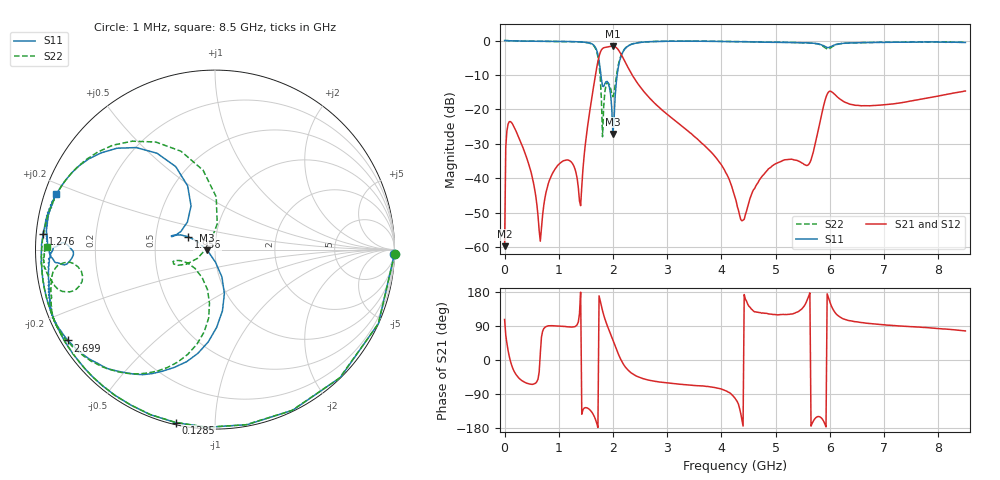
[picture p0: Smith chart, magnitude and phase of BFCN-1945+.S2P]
# Hz S dB R 50
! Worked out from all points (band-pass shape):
!   401 points, 1 MHz to 8.5 GHz, reference 50 ohm
!   highest |S21| = -1.64 dB at 1.998 GHz (marker M1); lowest = -59.7 dB at 1 MHz (marker M2)
!   |S21| within 3 dB of the highest: 1.743 GHz to 2.172 GHz (429.5 MHz wide, 21.9 % of centre)
!   lowest |S11| = -27.1 dB at 1.998 GHz (marker M3), VSWR 1.09, Z = 45.8 - j0.272 ohm
!   |S11| at or under -10 dB: 1.777 GHz to 2.078 GHz (300.2 MHz wide, 15.6 % of centre)
!   |S22| runs from -27.9 to 0.0 dB; largest |S21 - S12| = 0.0027
!   S11 on the Smith chart (normalised r, x): 1 MHz: -1, -88; 128.5 MHz: 0.01, -0.80; 1.276 GHz: 0.02, +0.04; 1.956 GHz: 0.73, +0.11; 2.699 GHz: 0.02, -0.28; 8.5 GHz: 0.03, +0.17
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1000000  0.00 -1.3  -59.70 106.9  -58.31 81.8  0.02 -1.3
6.47425e7  -0.05 -64.2  -24.28 25.6  -24.27 25.8  -0.06 -64.5
1.28485e8  -0.10 -102.7  -23.81 -12.7  -23.82 -12.8  -0.11 -103.0
2.98465e8  -0.16 -143.6  -29.53 -52.2  -29.52 -52.2  -0.16 -143.5
6.596725e8  -0.22 -166.8  -58.27 17.2  -57.49 19.2  -0.20 -166.1
9.146425e8  -0.26 -174.5  -37.73 90.3  -37.72 90.2  -0.26 -173.7
1.27585e9  -0.33 174.9  -36.37 87.5  -36.37 87.6  -0.35 175.5
1.424582e9  -0.42 168.1  -42.38 -143.1  -42.36 -143.3  -0.44 167.9
1.679552e9  -2.09 134.0  -9.73 -157.9  -9.73 -157.6  -2.39 127.3
1.764542e9  -8.26 113.2  -3.48 155.9  -3.46 156.1  -10.65 88.7
1.95577e9  -15.62 154.4  -1.70 68.5  -1.69 68.4  -13.94 -162.2
1.998265e9  -27.14 -176.1  -1.64 53.0  -1.62 52.9  -16.31 -136.7
2.189492e9  -3.16 -109.1  -5.15 -10.5  -5.15 -10.5  -2.99 -112.0
2.699432e9  -0.33 -148.3  -17.10 -54.2  -17.11 -54.3  -0.32 -147.1
2.848165e9  -0.26 -151.4  -19.35 -57.9  -19.34 -57.7  -0.25 -150.0
4.2505e9  -0.35 -163.3  -45.60 -100.8  -45.50 -99.6  -0.30 -160.4
4.399232e9  -0.36 -164.8  -52.15 -174.2  -52.09 -173.7  -0.32 -161.3
4.887925e9  -0.50 -169.0  -37.02 121.4  -37.06 121.8  -0.48 -164.2
5.674082e9  -0.73 -178.7  -33.54 -167.2  -33.59 -167.1  -0.79 -171.8
5.992795e9  -1.95 -176.6  -14.74 156.2  -14.69 156.1  -2.37 -166.5
7.097665e9  -0.54 175.3  -18.51 91.8  -18.47 91.9  -0.47 -172.7
8.5e9  -0.56 160.5  -14.66 76.7  -14.67 76.7  -0.57 179.0
